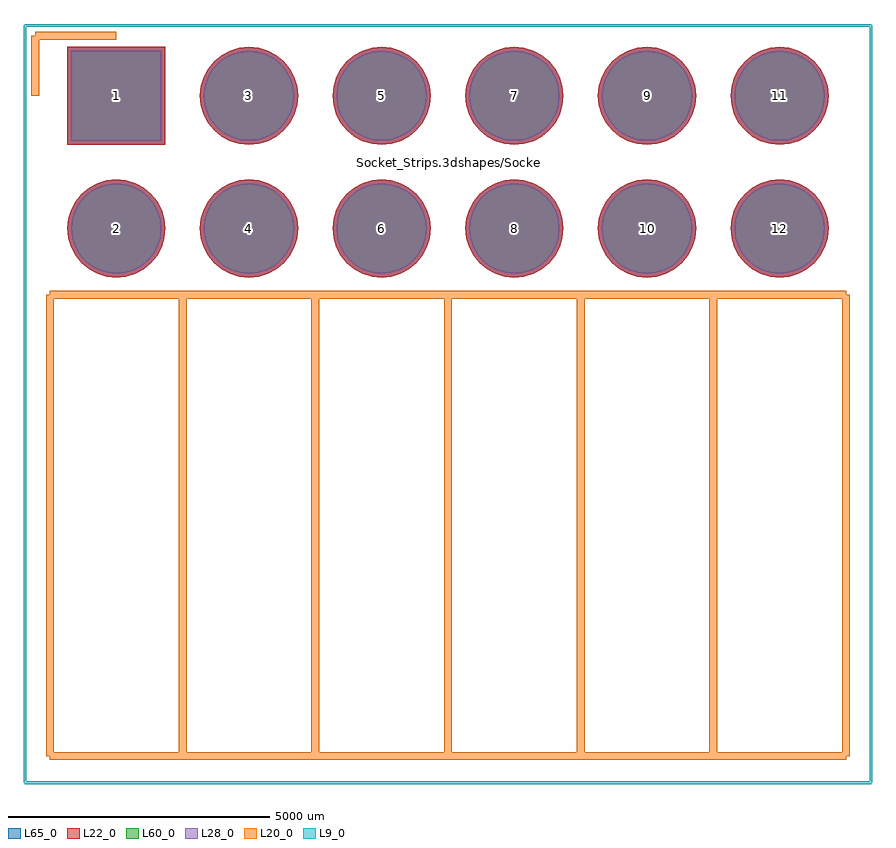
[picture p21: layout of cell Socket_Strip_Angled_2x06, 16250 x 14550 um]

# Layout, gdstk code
import gdstk
lib = gdstk.Library(unit=1e-6, precision=1e-09)
def R(c, l, rs):  # rectangles x0, y0, x1, y1
    for r in rs: c.add(gdstk.rectangle(r[:2], r[2:], *l))
def P(c, l, *ps):  # polygons
    for p in ps: c.add(gdstk.Polygon(p, *l))
L9_0 = (9, 0)
L20_0 = (20, 0)
L22_0 = (22, 0)
L28_0 = (28, 0)
L60_0 = (60, 0)
L65_0 = (65, 0)

socket_strip_angled_2x06 = lib.new_cell('Socket_Strip_Angled_2x06')
R(socket_strip_angled_2x06, L22_0, [(-938.6,-938.6,938.6,938.6)])
P(socket_strip_angled_2x06, L22_0, [(13638.6,-2540),(13620.565,-2356.888),(13567.153,-2180.813),(13480.417,-2018.542),(13363.69,-1876.31),(13221.458,-1759.583),(13059.187,-1672.847),(12883.112,-1619.435),(12700,-1601.4),(12516.888,-1619.435),(12340.813,-1672.847),(12178.542,-1759.583),(12036.31,-1876.31),(11919.583,-2018.542),(11832.847,-2180.813),(11779.435,-2356.888),(11761.4,-2540),(11779.435,-2723.112),(11832.847,-2899.187),(11919.583,-3061.458),(12036.31,-3203.69),(12178.542,-3320.417),(12340.813,-3407.153),(12516.888,-3460.565),(12700,-3478.6),(12883.112,-3460.565),(13059.187,-3407.153),(13221.458,-3320.417),(13363.69,-3203.69),(13480.417,-3061.458),(13567.153,-2899.187),(13620.565,-2723.112)],
  [(13638.6,0),(13620.565,183.112),(13567.153,359.187),(13480.417,521.458),(13363.69,663.69),(13221.458,780.417),(13059.187,867.153),(12883.112,920.565),(12700,938.6),(12516.888,920.565),(12340.813,867.153),(12178.542,780.417),(12036.31,663.69),(11919.583,521.458),(11832.847,359.187),(11779.435,183.112),(11761.4,0),(11779.435,-183.112),(11832.847,-359.187),(11919.583,-521.458),(12036.31,-663.69),(12178.542,-780.417),(12340.813,-867.153),(12516.888,-920.565),(12700,-938.6),(12883.112,-920.565),(13059.187,-867.153),(13221.458,-780.417),(13363.69,-663.69),(13480.417,-521.458),(13567.153,-359.187),(13620.565,-183.112)],
  [(11098.6,-2540),(11080.565,-2356.888),(11027.153,-2180.813),(10940.417,-2018.542),(10823.69,-1876.31),(10681.458,-1759.583),(10519.187,-1672.847),(10343.112,-1619.435),(10160,-1601.4),(9976.888,-1619.435),(9800.813,-1672.847),(9638.542,-1759.583),(9496.31,-1876.31),(9379.583,-2018.542),(9292.847,-2180.813),(9239.435,-2356.888),(9221.4,-2540),(9239.435,-2723.112),(9292.847,-2899.187),(9379.583,-3061.458),(9496.31,-3203.69),(9638.542,-3320.417),(9800.813,-3407.153),(9976.888,-3460.565),(10160,-3478.6),(10343.112,-3460.565),(10519.187,-3407.153),(10681.458,-3320.417),(10823.69,-3203.69),(10940.417,-3061.458),(11027.153,-2899.187),(11080.565,-2723.112)],
  [(11098.6,0),(11080.565,183.112),(11027.153,359.187),(10940.417,521.458),(10823.69,663.69),(10681.458,780.417),(10519.187,867.153),(10343.112,920.565),(10160,938.6),(9976.888,920.565),(9800.813,867.153),(9638.542,780.417),(9496.31,663.69),(9379.583,521.458),(9292.847,359.187),(9239.435,183.112),(9221.4,0),(9239.435,-183.112),(9292.847,-359.187),(9379.583,-521.458),(9496.31,-663.69),(9638.542,-780.417),(9800.813,-867.153),(9976.888,-920.565),(10160,-938.6),(10343.112,-920.565),(10519.187,-867.153),(10681.458,-780.417),(10823.69,-663.69),(10940.417,-521.458),(11027.153,-359.187),(11080.565,-183.112)],
  [(8558.6,-2540),(8540.565,-2356.888),(8487.153,-2180.813),(8400.417,-2018.542),(8283.69,-1876.31),(8141.458,-1759.583),(7979.187,-1672.847),(7803.112,-1619.435),(7620,-1601.4),(7436.888,-1619.435),(7260.813,-1672.847),(7098.542,-1759.583),(6956.31,-1876.31),(6839.583,-2018.542),(6752.847,-2180.813),(6699.435,-2356.888),(6681.4,-2540),(6699.435,-2723.112),(6752.847,-2899.187),(6839.583,-3061.458),(6956.31,-3203.69),(7098.542,-3320.417),(7260.813,-3407.153),(7436.888,-3460.565),(7620,-3478.6),(7803.112,-3460.565),(7979.187,-3407.153),(8141.458,-3320.417),(8283.69,-3203.69),(8400.417,-3061.458),(8487.153,-2899.187),(8540.565,-2723.112)],
  [(8558.6,0),(8540.565,183.112),(8487.153,359.187),(8400.417,521.458),(8283.69,663.69),(8141.458,780.417),(7979.187,867.153),(7803.112,920.565),(7620,938.6),(7436.888,920.565),(7260.813,867.153),(7098.542,780.417),(6956.31,663.69),(6839.583,521.458),(6752.847,359.187),(6699.435,183.112),(6681.4,0),(6699.435,-183.112),(6752.847,-359.187),(6839.583,-521.458),(6956.31,-663.69),(7098.542,-780.417),(7260.813,-867.153),(7436.888,-920.565),(7620,-938.6),(7803.112,-920.565),(7979.187,-867.153),(8141.458,-780.417),(8283.69,-663.69),(8400.417,-521.458),(8487.153,-359.187),(8540.565,-183.112)],
  [(6018.6,-2540),(6000.565,-2356.888),(5947.153,-2180.813),(5860.417,-2018.542),(5743.69,-1876.31),(5601.458,-1759.583),(5439.187,-1672.847),(5263.112,-1619.435),(5080,-1601.4),(4896.888,-1619.435),(4720.813,-1672.847),(4558.542,-1759.583),(4416.31,-1876.31),(4299.583,-2018.542),(4212.847,-2180.813),(4159.435,-2356.888),(4141.4,-2540),(4159.435,-2723.112),(4212.847,-2899.187),(4299.583,-3061.458),(4416.31,-3203.69),(4558.542,-3320.417),(4720.813,-3407.153),(4896.888,-3460.565),(5080,-3478.6),(5263.112,-3460.565),(5439.187,-3407.153),(5601.458,-3320.417),(5743.69,-3203.69),(5860.417,-3061.458),(5947.153,-2899.187),(6000.565,-2723.112)],
  [(6018.6,0),(6000.565,183.112),(5947.153,359.187),(5860.417,521.458),(5743.69,663.69),(5601.458,780.417),(5439.187,867.153),(5263.112,920.565),(5080,938.6),(4896.888,920.565),(4720.813,867.153),(4558.542,780.417),(4416.31,663.69),(4299.583,521.458),(4212.847,359.187),(4159.435,183.112),(4141.4,0),(4159.435,-183.112),(4212.847,-359.187),(4299.583,-521.458),(4416.31,-663.69),(4558.542,-780.417),(4720.813,-867.153),(4896.888,-920.565),(5080,-938.6),(5263.112,-920.565),(5439.187,-867.153),(5601.458,-780.417),(5743.69,-663.69),(5860.417,-521.458),(5947.153,-359.187),(6000.565,-183.112)],
  [(3478.6,-2540),(3460.565,-2356.888),(3407.153,-2180.813),(3320.417,-2018.542),(3203.69,-1876.31),(3061.458,-1759.583),(2899.187,-1672.847),(2723.112,-1619.435),(2540,-1601.4),(2356.888,-1619.435),(2180.813,-1672.847),(2018.542,-1759.583),(1876.31,-1876.31),(1759.583,-2018.542),(1672.847,-2180.813),(1619.435,-2356.888),(1601.4,-2540),(1619.435,-2723.112),(1672.847,-2899.187),(1759.583,-3061.458),(1876.31,-3203.69),(2018.542,-3320.417),(2180.813,-3407.153),(2356.888,-3460.565),(2540,-3478.6),(2723.112,-3460.565),(2899.187,-3407.153),(3061.458,-3320.417),(3203.69,-3203.69),(3320.417,-3061.458),(3407.153,-2899.187),(3460.565,-2723.112)],
  [(3478.6,0),(3460.565,183.112),(3407.153,359.187),(3320.417,521.458),(3203.69,663.69),(3061.458,780.417),(2899.187,867.153),(2723.112,920.565),(2540,938.6),(2356.888,920.565),(2180.813,867.153),(2018.542,780.417),(1876.31,663.69),(1759.583,521.458),(1672.847,359.187),(1619.435,183.112),(1601.4,0),(1619.435,-183.112),(1672.847,-359.187),(1759.583,-521.458),(1876.31,-663.69),(2018.542,-780.417),(2180.813,-867.153),(2356.888,-920.565),(2540,-938.6),(2723.112,-920.565),(2899.187,-867.153),(3061.458,-780.417),(3203.69,-663.69),(3320.417,-521.458),(3407.153,-359.187),(3460.565,-183.112)],
  [(938.6,-2540),(920.565,-2356.888),(867.153,-2180.813),(780.417,-2018.542),(663.69,-1876.31),(521.458,-1759.583),(359.187,-1672.847),(183.112,-1619.435),(0,-1601.4),(-183.112,-1619.435),(-359.187,-1672.847),(-521.458,-1759.583),(-663.69,-1876.31),(-780.417,-2018.542),(-867.153,-2180.813),(-920.565,-2356.888),(-938.6,-2540),(-920.565,-2723.112),(-867.153,-2899.187),(-780.417,-3061.458),(-663.69,-3203.69),(-521.458,-3320.417),(-359.187,-3407.153),(-183.112,-3460.565),(0,-3478.6),(183.112,-3460.565),(359.187,-3407.153),(521.458,-3320.417),(663.69,-3203.69),(780.417,-3061.458),(867.153,-2899.187),(920.565,-2723.112)])
R(socket_strip_angled_2x06, L28_0, [(-863.6,-863.6,863.6,863.6)])
P(socket_strip_angled_2x06, L28_0, [(13563.6,-2540),(13547.006,-2371.52),(13497.862,-2209.515),(13418.057,-2060.21),(13310.657,-1929.343),(13179.79,-1821.943),(13030.485,-1742.138),(12868.48,-1692.994),(12700,-1676.4),(12531.52,-1692.994),(12369.515,-1742.138),(12220.21,-1821.943),(12089.343,-1929.343),(11981.943,-2060.21),(11902.138,-2209.515),(11852.994,-2371.52),(11836.4,-2540),(11852.994,-2708.48),(11902.138,-2870.485),(11981.943,-3019.79),(12089.343,-3150.657),(12220.21,-3258.057),(12369.515,-3337.862),(12531.52,-3387.006),(12700,-3403.6),(12868.48,-3387.006),(13030.485,-3337.862),(13179.79,-3258.057),(13310.657,-3150.657),(13418.057,-3019.79),(13497.862,-2870.485),(13547.006,-2708.48)],
  [(13563.6,0),(13547.006,168.48),(13497.862,330.485),(13418.057,479.79),(13310.657,610.657),(13179.79,718.057),(13030.485,797.862),(12868.48,847.006),(12700,863.6),(12531.52,847.006),(12369.515,797.862),(12220.21,718.057),(12089.343,610.657),(11981.943,479.79),(11902.138,330.485),(11852.994,168.48),(11836.4,0),(11852.994,-168.48),(11902.138,-330.485),(11981.943,-479.79),(12089.343,-610.657),(12220.21,-718.057),(12369.515,-797.862),(12531.52,-847.006),(12700,-863.6),(12868.48,-847.006),(13030.485,-797.862),(13179.79,-718.057),(13310.657,-610.657),(13418.057,-479.79),(13497.862,-330.485),(13547.006,-168.48)],
  [(11023.6,-2540),(11007.006,-2371.52),(10957.862,-2209.515),(10878.057,-2060.21),(10770.657,-1929.343),(10639.79,-1821.943),(10490.485,-1742.138),(10328.48,-1692.994),(10160,-1676.4),(9991.52,-1692.994),(9829.515,-1742.138),(9680.21,-1821.943),(9549.343,-1929.343),(9441.943,-2060.21),(9362.138,-2209.515),(9312.994,-2371.52),(9296.4,-2540),(9312.994,-2708.48),(9362.138,-2870.485),(9441.943,-3019.79),(9549.343,-3150.657),(9680.21,-3258.057),(9829.515,-3337.862),(9991.52,-3387.006),(10160,-3403.6),(10328.48,-3387.006),(10490.485,-3337.862),(10639.79,-3258.057),(10770.657,-3150.657),(10878.057,-3019.79),(10957.862,-2870.485),(11007.006,-2708.48)],
  [(11023.6,0),(11007.006,168.48),(10957.862,330.485),(10878.057,479.79),(10770.657,610.657),(10639.79,718.057),(10490.485,797.862),(10328.48,847.006),(10160,863.6),(9991.52,847.006),(9829.515,797.862),(9680.21,718.057),(9549.343,610.657),(9441.943,479.79),(9362.138,330.485),(9312.994,168.48),(9296.4,0),(9312.994,-168.48),(9362.138,-330.485),(9441.943,-479.79),(9549.343,-610.657),(9680.21,-718.057),(9829.515,-797.862),(9991.52,-847.006),(10160,-863.6),(10328.48,-847.006),(10490.485,-797.862),(10639.79,-718.057),(10770.657,-610.657),(10878.057,-479.79),(10957.862,-330.485),(11007.006,-168.48)],
  [(8483.6,-2540),(8467.006,-2371.52),(8417.862,-2209.515),(8338.057,-2060.21),(8230.657,-1929.343),(8099.79,-1821.943),(7950.485,-1742.138),(7788.48,-1692.994),(7620,-1676.4),(7451.52,-1692.994),(7289.515,-1742.138),(7140.21,-1821.943),(7009.343,-1929.343),(6901.943,-2060.21),(6822.138,-2209.515),(6772.994,-2371.52),(6756.4,-2540),(6772.994,-2708.48),(6822.138,-2870.485),(6901.943,-3019.79),(7009.343,-3150.657),(7140.21,-3258.057),(7289.515,-3337.862),(7451.52,-3387.006),(7620,-3403.6),(7788.48,-3387.006),(7950.485,-3337.862),(8099.79,-3258.057),(8230.657,-3150.657),(8338.057,-3019.79),(8417.862,-2870.485),(8467.006,-2708.48)],
  [(8483.6,0),(8467.006,168.48),(8417.862,330.485),(8338.057,479.79),(8230.657,610.657),(8099.79,718.057),(7950.485,797.862),(7788.48,847.006),(7620,863.6),(7451.52,847.006),(7289.515,797.862),(7140.21,718.057),(7009.343,610.657),(6901.943,479.79),(6822.138,330.485),(6772.994,168.48),(6756.4,0),(6772.994,-168.48),(6822.138,-330.485),(6901.943,-479.79),(7009.343,-610.657),(7140.21,-718.057),(7289.515,-797.862),(7451.52,-847.006),(7620,-863.6),(7788.48,-847.006),(7950.485,-797.862),(8099.79,-718.057),(8230.657,-610.657),(8338.057,-479.79),(8417.862,-330.485),(8467.006,-168.48)],
  [(5943.6,-2540),(5927.006,-2371.52),(5877.862,-2209.515),(5798.057,-2060.21),(5690.657,-1929.343),(5559.79,-1821.943),(5410.485,-1742.138),(5248.48,-1692.994),(5080,-1676.4),(4911.52,-1692.994),(4749.515,-1742.138),(4600.21,-1821.943),(4469.343,-1929.343),(4361.943,-2060.21),(4282.138,-2209.515),(4232.994,-2371.52),(4216.4,-2540),(4232.994,-2708.48),(4282.138,-2870.485),(4361.943,-3019.79),(4469.343,-3150.657),(4600.21,-3258.057),(4749.515,-3337.862),(4911.52,-3387.006),(5080,-3403.6),(5248.48,-3387.006),(5410.485,-3337.862),(5559.79,-3258.057),(5690.657,-3150.657),(5798.057,-3019.79),(5877.862,-2870.485),(5927.006,-2708.48)],
  [(5943.6,0),(5927.006,168.48),(5877.862,330.485),(5798.057,479.79),(5690.657,610.657),(5559.79,718.057),(5410.485,797.862),(5248.48,847.006),(5080,863.6),(4911.52,847.006),(4749.515,797.862),(4600.21,718.057),(4469.343,610.657),(4361.943,479.79),(4282.138,330.485),(4232.994,168.48),(4216.4,0),(4232.994,-168.48),(4282.138,-330.485),(4361.943,-479.79),(4469.343,-610.657),(4600.21,-718.057),(4749.515,-797.862),(4911.52,-847.006),(5080,-863.6),(5248.48,-847.006),(5410.485,-797.862),(5559.79,-718.057),(5690.657,-610.657),(5798.057,-479.79),(5877.862,-330.485),(5927.006,-168.48)],
  [(3403.6,-2540),(3387.006,-2371.52),(3337.862,-2209.515),(3258.057,-2060.21),(3150.657,-1929.343),(3019.79,-1821.943),(2870.485,-1742.138),(2708.48,-1692.994),(2540,-1676.4),(2371.52,-1692.994),(2209.515,-1742.138),(2060.21,-1821.943),(1929.343,-1929.343),(1821.943,-2060.21),(1742.138,-2209.515),(1692.994,-2371.52),(1676.4,-2540),(1692.994,-2708.48),(1742.138,-2870.485),(1821.943,-3019.79),(1929.343,-3150.657),(2060.21,-3258.057),(2209.515,-3337.862),(2371.52,-3387.006),(2540,-3403.6),(2708.48,-3387.006),(2870.485,-3337.862),(3019.79,-3258.057),(3150.657,-3150.657),(3258.057,-3019.79),(3337.862,-2870.485),(3387.006,-2708.48)],
  [(3403.6,0),(3387.006,168.48),(3337.862,330.485),(3258.057,479.79),(3150.657,610.657),(3019.79,718.057),(2870.485,797.862),(2708.48,847.006),(2540,863.6),(2371.52,847.006),(2209.515,797.862),(2060.21,718.057),(1929.343,610.657),(1821.943,479.79),(1742.138,330.485),(1692.994,168.48),(1676.4,0),(1692.994,-168.48),(1742.138,-330.485),(1821.943,-479.79),(1929.343,-610.657),(2060.21,-718.057),(2209.515,-797.862),(2371.52,-847.006),(2540,-863.6),(2708.48,-847.006),(2870.485,-797.862),(3019.79,-718.057),(3150.657,-610.657),(3258.057,-479.79),(3337.862,-330.485),(3387.006,-168.48)],
  [(863.6,-2540),(847.006,-2371.52),(797.862,-2209.515),(718.057,-2060.21),(610.657,-1929.343),(479.79,-1821.943),(330.485,-1742.138),(168.48,-1692.994),(0,-1676.4),(-168.48,-1692.994),(-330.485,-1742.138),(-479.79,-1821.943),(-610.657,-1929.343),(-718.057,-2060.21),(-797.862,-2209.515),(-847.006,-2371.52),(-863.6,-2540),(-847.006,-2708.48),(-797.862,-2870.485),(-718.057,-3019.79),(-610.657,-3150.657),(-479.79,-3258.057),(-330.485,-3337.862),(-168.48,-3387.006),(0,-3403.6),(168.48,-3387.006),(330.485,-3337.862),(479.79,-3258.057),(610.657,-3150.657),(718.057,-3019.79),(797.862,-2870.485),(847.006,-2708.48)])
R(socket_strip_angled_2x06, L60_0, [(-863.6,-863.6,863.6,863.6)])
P(socket_strip_angled_2x06, L60_0, [(13563.6,-2540),(13547.006,-2371.52),(13497.862,-2209.515),(13418.057,-2060.21),(13310.657,-1929.343),(13179.79,-1821.943),(13030.485,-1742.138),(12868.48,-1692.994),(12700,-1676.4),(12531.52,-1692.994),(12369.515,-1742.138),(12220.21,-1821.943),(12089.343,-1929.343),(11981.943,-2060.21),(11902.138,-2209.515),(11852.994,-2371.52),(11836.4,-2540),(11852.994,-2708.48),(11902.138,-2870.485),(11981.943,-3019.79),(12089.343,-3150.657),(12220.21,-3258.057),(12369.515,-3337.862),(12531.52,-3387.006),(12700,-3403.6),(12868.48,-3387.006),(13030.485,-3337.862),(13179.79,-3258.057),(13310.657,-3150.657),(13418.057,-3019.79),(13497.862,-2870.485),(13547.006,-2708.48)],
  [(13563.6,0),(13547.006,168.48),(13497.862,330.485),(13418.057,479.79),(13310.657,610.657),(13179.79,718.057),(13030.485,797.862),(12868.48,847.006),(12700,863.6),(12531.52,847.006),(12369.515,797.862),(12220.21,718.057),(12089.343,610.657),(11981.943,479.79),(11902.138,330.485),(11852.994,168.48),(11836.4,0),(11852.994,-168.48),(11902.138,-330.485),(11981.943,-479.79),(12089.343,-610.657),(12220.21,-718.057),(12369.515,-797.862),(12531.52,-847.006),(12700,-863.6),(12868.48,-847.006),(13030.485,-797.862),(13179.79,-718.057),(13310.657,-610.657),(13418.057,-479.79),(13497.862,-330.485),(13547.006,-168.48)],
  [(11023.6,-2540),(11007.006,-2371.52),(10957.862,-2209.515),(10878.057,-2060.21),(10770.657,-1929.343),(10639.79,-1821.943),(10490.485,-1742.138),(10328.48,-1692.994),(10160,-1676.4),(9991.52,-1692.994),(9829.515,-1742.138),(9680.21,-1821.943),(9549.343,-1929.343),(9441.943,-2060.21),(9362.138,-2209.515),(9312.994,-2371.52),(9296.4,-2540),(9312.994,-2708.48),(9362.138,-2870.485),(9441.943,-3019.79),(9549.343,-3150.657),(9680.21,-3258.057),(9829.515,-3337.862),(9991.52,-3387.006),(10160,-3403.6),(10328.48,-3387.006),(10490.485,-3337.862),(10639.79,-3258.057),(10770.657,-3150.657),(10878.057,-3019.79),(10957.862,-2870.485),(11007.006,-2708.48)],
  [(11023.6,0),(11007.006,168.48),(10957.862,330.485),(10878.057,479.79),(10770.657,610.657),(10639.79,718.057),(10490.485,797.862),(10328.48,847.006),(10160,863.6),(9991.52,847.006),(9829.515,797.862),(9680.21,718.057),(9549.343,610.657),(9441.943,479.79),(9362.138,330.485),(9312.994,168.48),(9296.4,0),(9312.994,-168.48),(9362.138,-330.485),(9441.943,-479.79),(9549.343,-610.657),(9680.21,-718.057),(9829.515,-797.862),(9991.52,-847.006),(10160,-863.6),(10328.48,-847.006),(10490.485,-797.862),(10639.79,-718.057),(10770.657,-610.657),(10878.057,-479.79),(10957.862,-330.485),(11007.006,-168.48)],
  [(8483.6,-2540),(8467.006,-2371.52),(8417.862,-2209.515),(8338.057,-2060.21),(8230.657,-1929.343),(8099.79,-1821.943),(7950.485,-1742.138),(7788.48,-1692.994),(7620,-1676.4),(7451.52,-1692.994),(7289.515,-1742.138),(7140.21,-1821.943),(7009.343,-1929.343),(6901.943,-2060.21),(6822.138,-2209.515),(6772.994,-2371.52),(6756.4,-2540),(6772.994,-2708.48),(6822.138,-2870.485),(6901.943,-3019.79),(7009.343,-3150.657),(7140.21,-3258.057),(7289.515,-3337.862),(7451.52,-3387.006),(7620,-3403.6),(7788.48,-3387.006),(7950.485,-3337.862),(8099.79,-3258.057),(8230.657,-3150.657),(8338.057,-3019.79),(8417.862,-2870.485),(8467.006,-2708.48)],
  [(8483.6,0),(8467.006,168.48),(8417.862,330.485),(8338.057,479.79),(8230.657,610.657),(8099.79,718.057),(7950.485,797.862),(7788.48,847.006),(7620,863.6),(7451.52,847.006),(7289.515,797.862),(7140.21,718.057),(7009.343,610.657),(6901.943,479.79),(6822.138,330.485),(6772.994,168.48),(6756.4,0),(6772.994,-168.48),(6822.138,-330.485),(6901.943,-479.79),(7009.343,-610.657),(7140.21,-718.057),(7289.515,-797.862),(7451.52,-847.006),(7620,-863.6),(7788.48,-847.006),(7950.485,-797.862),(8099.79,-718.057),(8230.657,-610.657),(8338.057,-479.79),(8417.862,-330.485),(8467.006,-168.48)],
  [(5943.6,-2540),(5927.006,-2371.52),(5877.862,-2209.515),(5798.057,-2060.21),(5690.657,-1929.343),(5559.79,-1821.943),(5410.485,-1742.138),(5248.48,-1692.994),(5080,-1676.4),(4911.52,-1692.994),(4749.515,-1742.138),(4600.21,-1821.943),(4469.343,-1929.343),(4361.943,-2060.21),(4282.138,-2209.515),(4232.994,-2371.52),(4216.4,-2540),(4232.994,-2708.48),(4282.138,-2870.485),(4361.943,-3019.79),(4469.343,-3150.657),(4600.21,-3258.057),(4749.515,-3337.862),(4911.52,-3387.006),(5080,-3403.6),(5248.48,-3387.006),(5410.485,-3337.862),(5559.79,-3258.057),(5690.657,-3150.657),(5798.057,-3019.79),(5877.862,-2870.485),(5927.006,-2708.48)],
  [(5943.6,0),(5927.006,168.48),(5877.862,330.485),(5798.057,479.79),(5690.657,610.657),(5559.79,718.057),(5410.485,797.862),(5248.48,847.006),(5080,863.6),(4911.52,847.006),(4749.515,797.862),(4600.21,718.057),(4469.343,610.657),(4361.943,479.79),(4282.138,330.485),(4232.994,168.48),(4216.4,0),(4232.994,-168.48),(4282.138,-330.485),(4361.943,-479.79),(4469.343,-610.657),(4600.21,-718.057),(4749.515,-797.862),(4911.52,-847.006),(5080,-863.6),(5248.48,-847.006),(5410.485,-797.862),(5559.79,-718.057),(5690.657,-610.657),(5798.057,-479.79),(5877.862,-330.485),(5927.006,-168.48)],
  [(3403.6,-2540),(3387.006,-2371.52),(3337.862,-2209.515),(3258.057,-2060.21),(3150.657,-1929.343),(3019.79,-1821.943),(2870.485,-1742.138),(2708.48,-1692.994),(2540,-1676.4),(2371.52,-1692.994),(2209.515,-1742.138),(2060.21,-1821.943),(1929.343,-1929.343),(1821.943,-2060.21),(1742.138,-2209.515),(1692.994,-2371.52),(1676.4,-2540),(1692.994,-2708.48),(1742.138,-2870.485),(1821.943,-3019.79),(1929.343,-3150.657),(2060.21,-3258.057),(2209.515,-3337.862),(2371.52,-3387.006),(2540,-3403.6),(2708.48,-3387.006),(2870.485,-3337.862),(3019.79,-3258.057),(3150.657,-3150.657),(3258.057,-3019.79),(3337.862,-2870.485),(3387.006,-2708.48)],
  [(3403.6,0),(3387.006,168.48),(3337.862,330.485),(3258.057,479.79),(3150.657,610.657),(3019.79,718.057),(2870.485,797.862),(2708.48,847.006),(2540,863.6),(2371.52,847.006),(2209.515,797.862),(2060.21,718.057),(1929.343,610.657),(1821.943,479.79),(1742.138,330.485),(1692.994,168.48),(1676.4,0),(1692.994,-168.48),(1742.138,-330.485),(1821.943,-479.79),(1929.343,-610.657),(2060.21,-718.057),(2209.515,-797.862),(2371.52,-847.006),(2540,-863.6),(2708.48,-847.006),(2870.485,-797.862),(3019.79,-718.057),(3150.657,-610.657),(3258.057,-479.79),(3337.862,-330.485),(3387.006,-168.48)],
  [(863.6,-2540),(847.006,-2371.52),(797.862,-2209.515),(718.057,-2060.21),(610.657,-1929.343),(479.79,-1821.943),(330.485,-1742.138),(168.48,-1692.994),(0,-1676.4),(-168.48,-1692.994),(-330.485,-1742.138),(-479.79,-1821.943),(-610.657,-1929.343),(-718.057,-2060.21),(-797.862,-2209.515),(-847.006,-2371.52),(-863.6,-2540),(-847.006,-2708.48),(-797.862,-2870.485),(-718.057,-3019.79),(-610.657,-3150.657),(-479.79,-3258.057),(-330.485,-3337.862),(-168.48,-3387.006),(0,-3403.6),(168.48,-3387.006),(330.485,-3337.862),(479.79,-3258.057),(610.657,-3150.657),(718.057,-3019.79),(797.862,-2870.485),(847.006,-2708.48)])
R(socket_strip_angled_2x06, L65_0, [(-938.6,-938.6,938.6,938.6)])
P(socket_strip_angled_2x06, L65_0, [(13638.6,-2540),(13620.565,-2356.888),(13567.153,-2180.813),(13480.417,-2018.542),(13363.69,-1876.31),(13221.458,-1759.583),(13059.187,-1672.847),(12883.112,-1619.435),(12700,-1601.4),(12516.888,-1619.435),(12340.813,-1672.847),(12178.542,-1759.583),(12036.31,-1876.31),(11919.583,-2018.542),(11832.847,-2180.813),(11779.435,-2356.888),(11761.4,-2540),(11779.435,-2723.112),(11832.847,-2899.187),(11919.583,-3061.458),(12036.31,-3203.69),(12178.542,-3320.417),(12340.813,-3407.153),(12516.888,-3460.565),(12700,-3478.6),(12883.112,-3460.565),(13059.187,-3407.153),(13221.458,-3320.417),(13363.69,-3203.69),(13480.417,-3061.458),(13567.153,-2899.187),(13620.565,-2723.112)],
  [(13638.6,0),(13620.565,183.112),(13567.153,359.187),(13480.417,521.458),(13363.69,663.69),(13221.458,780.417),(13059.187,867.153),(12883.112,920.565),(12700,938.6),(12516.888,920.565),(12340.813,867.153),(12178.542,780.417),(12036.31,663.69),(11919.583,521.458),(11832.847,359.187),(11779.435,183.112),(11761.4,0),(11779.435,-183.112),(11832.847,-359.187),(11919.583,-521.458),(12036.31,-663.69),(12178.542,-780.417),(12340.813,-867.153),(12516.888,-920.565),(12700,-938.6),(12883.112,-920.565),(13059.187,-867.153),(13221.458,-780.417),(13363.69,-663.69),(13480.417,-521.458),(13567.153,-359.187),(13620.565,-183.112)],
  [(11098.6,-2540),(11080.565,-2356.888),(11027.153,-2180.813),(10940.417,-2018.542),(10823.69,-1876.31),(10681.458,-1759.583),(10519.187,-1672.847),(10343.112,-1619.435),(10160,-1601.4),(9976.888,-1619.435),(9800.813,-1672.847),(9638.542,-1759.583),(9496.31,-1876.31),(9379.583,-2018.542),(9292.847,-2180.813),(9239.435,-2356.888),(9221.4,-2540),(9239.435,-2723.112),(9292.847,-2899.187),(9379.583,-3061.458),(9496.31,-3203.69),(9638.542,-3320.417),(9800.813,-3407.153),(9976.888,-3460.565),(10160,-3478.6),(10343.112,-3460.565),(10519.187,-3407.153),(10681.458,-3320.417),(10823.69,-3203.69),(10940.417,-3061.458),(11027.153,-2899.187),(11080.565,-2723.112)],
  [(11098.6,0),(11080.565,183.112),(11027.153,359.187),(10940.417,521.458),(10823.69,663.69),(10681.458,780.417),(10519.187,867.153),(10343.112,920.565),(10160,938.6),(9976.888,920.565),(9800.813,867.153),(9638.542,780.417),(9496.31,663.69),(9379.583,521.458),(9292.847,359.187),(9239.435,183.112),(9221.4,0),(9239.435,-183.112),(9292.847,-359.187),(9379.583,-521.458),(9496.31,-663.69),(9638.542,-780.417),(9800.813,-867.153),(9976.888,-920.565),(10160,-938.6),(10343.112,-920.565),(10519.187,-867.153),(10681.458,-780.417),(10823.69,-663.69),(10940.417,-521.458),(11027.153,-359.187),(11080.565,-183.112)],
  [(8558.6,-2540),(8540.565,-2356.888),(8487.153,-2180.813),(8400.417,-2018.542),(8283.69,-1876.31),(8141.458,-1759.583),(7979.187,-1672.847),(7803.112,-1619.435),(7620,-1601.4),(7436.888,-1619.435),(7260.813,-1672.847),(7098.542,-1759.583),(6956.31,-1876.31),(6839.583,-2018.542),(6752.847,-2180.813),(6699.435,-2356.888),(6681.4,-2540),(6699.435,-2723.112),(6752.847,-2899.187),(6839.583,-3061.458),(6956.31,-3203.69),(7098.542,-3320.417),(7260.813,-3407.153),(7436.888,-3460.565),(7620,-3478.6),(7803.112,-3460.565),(7979.187,-3407.153),(8141.458,-3320.417),(8283.69,-3203.69),(8400.417,-3061.458),(8487.153,-2899.187),(8540.565,-2723.112)],
  [(8558.6,0),(8540.565,183.112),(8487.153,359.187),(8400.417,521.458),(8283.69,663.69),(8141.458,780.417),(7979.187,867.153),(7803.112,920.565),(7620,938.6),(7436.888,920.565),(7260.813,867.153),(7098.542,780.417),(6956.31,663.69),(6839.583,521.458),(6752.847,359.187),(6699.435,183.112),(6681.4,0),(6699.435,-183.112),(6752.847,-359.187),(6839.583,-521.458),(6956.31,-663.69),(7098.542,-780.417),(7260.813,-867.153),(7436.888,-920.565),(7620,-938.6),(7803.112,-920.565),(7979.187,-867.153),(8141.458,-780.417),(8283.69,-663.69),(8400.417,-521.458),(8487.153,-359.187),(8540.565,-183.112)],
  [(6018.6,-2540),(6000.565,-2356.888),(5947.153,-2180.813),(5860.417,-2018.542),(5743.69,-1876.31),(5601.458,-1759.583),(5439.187,-1672.847),(5263.112,-1619.435),(5080,-1601.4),(4896.888,-1619.435),(4720.813,-1672.847),(4558.542,-1759.583),(4416.31,-1876.31),(4299.583,-2018.542),(4212.847,-2180.813),(4159.435,-2356.888),(4141.4,-2540),(4159.435,-2723.112),(4212.847,-2899.187),(4299.583,-3061.458),(4416.31,-3203.69),(4558.542,-3320.417),(4720.813,-3407.153),(4896.888,-3460.565),(5080,-3478.6),(5263.112,-3460.565),(5439.187,-3407.153),(5601.458,-3320.417),(5743.69,-3203.69),(5860.417,-3061.458),(5947.153,-2899.187),(6000.565,-2723.112)],
  [(6018.6,0),(6000.565,183.112),(5947.153,359.187),(5860.417,521.458),(5743.69,663.69),(5601.458,780.417),(5439.187,867.153),(5263.112,920.565),(5080,938.6),(4896.888,920.565),(4720.813,867.153),(4558.542,780.417),(4416.31,663.69),(4299.583,521.458),(4212.847,359.187),(4159.435,183.112),(4141.4,0),(4159.435,-183.112),(4212.847,-359.187),(4299.583,-521.458),(4416.31,-663.69),(4558.542,-780.417),(4720.813,-867.153),(4896.888,-920.565),(5080,-938.6),(5263.112,-920.565),(5439.187,-867.153),(5601.458,-780.417),(5743.69,-663.69),(5860.417,-521.458),(5947.153,-359.187),(6000.565,-183.112)],
  [(3478.6,-2540),(3460.565,-2356.888),(3407.153,-2180.813),(3320.417,-2018.542),(3203.69,-1876.31),(3061.458,-1759.583),(2899.187,-1672.847),(2723.112,-1619.435),(2540,-1601.4),(2356.888,-1619.435),(2180.813,-1672.847),(2018.542,-1759.583),(1876.31,-1876.31),(1759.583,-2018.542),(1672.847,-2180.813),(1619.435,-2356.888),(1601.4,-2540),(1619.435,-2723.112),(1672.847,-2899.187),(1759.583,-3061.458),(1876.31,-3203.69),(2018.542,-3320.417),(2180.813,-3407.153),(2356.888,-3460.565),(2540,-3478.6),(2723.112,-3460.565),(2899.187,-3407.153),(3061.458,-3320.417),(3203.69,-3203.69),(3320.417,-3061.458),(3407.153,-2899.187),(3460.565,-2723.112)],
  [(3478.6,0),(3460.565,183.112),(3407.153,359.187),(3320.417,521.458),(3203.69,663.69),(3061.458,780.417),(2899.187,867.153),(2723.112,920.565),(2540,938.6),(2356.888,920.565),(2180.813,867.153),(2018.542,780.417),(1876.31,663.69),(1759.583,521.458),(1672.847,359.187),(1619.435,183.112),(1601.4,0),(1619.435,-183.112),(1672.847,-359.187),(1759.583,-521.458),(1876.31,-663.69),(2018.542,-780.417),(2180.813,-867.153),(2356.888,-920.565),(2540,-938.6),(2723.112,-920.565),(2899.187,-867.153),(3061.458,-780.417),(3203.69,-663.69),(3320.417,-521.458),(3407.153,-359.187),(3460.565,-183.112)],
  [(938.6,-2540),(920.565,-2356.888),(867.153,-2180.813),(780.417,-2018.542),(663.69,-1876.31),(521.458,-1759.583),(359.187,-1672.847),(183.112,-1619.435),(0,-1601.4),(-183.112,-1619.435),(-359.187,-1672.847),(-521.458,-1759.583),(-663.69,-1876.31),(-780.417,-2018.542),(-867.153,-2180.813),(-920.565,-2356.888),(-938.6,-2540),(-920.565,-2723.112),(-867.153,-2899.187),(-780.417,-3061.458),(-663.69,-3203.69),(-521.458,-3320.417),(-359.187,-3407.153),(-183.112,-3460.565),(0,-3478.6),(183.112,-3460.565),(359.187,-3407.153),(521.458,-3320.417),(663.69,-3203.69),(780.417,-3061.458),(867.153,-2899.187),(920.565,-2723.112)])
socket_strip_angled_2x06.add(gdstk.FlexPath([(1270,-12640),(1270,-3810)], 149.998, ends="flush", simple_path=True, layer=20, datatype=0))  # L20_0
socket_strip_angled_2x06.add(gdstk.FlexPath([(-1270,-12640),(1270,-12640)], 149.998, ends="flush", simple_path=True, layer=20, datatype=0))  # L20_0
socket_strip_angled_2x06.add(gdstk.FlexPath([(-1270,-3810),(-1270,-12640)], 149.998, ends="flush", simple_path=True, layer=20, datatype=0))  # L20_0
socket_strip_angled_2x06.add(gdstk.FlexPath([(-1550,1150),(-1550,0)], 149.998, ends="flush", simple_path=True, layer=20, datatype=0))  # L20_0
socket_strip_angled_2x06.add(gdstk.FlexPath([(0,1150),(-1550,1150)], 149.998, ends="flush", simple_path=True, layer=20, datatype=0))  # L20_0
socket_strip_angled_2x06.add(gdstk.FlexPath([(-1270,-3810),(1270,-3810)], 149.998, ends="flush", simple_path=True, layer=20, datatype=0))  # L20_0
socket_strip_angled_2x06.add(gdstk.FlexPath([(1270,-3810),(1270,-12640)], 149.998, ends="flush", simple_path=True, layer=20, datatype=0))  # L20_0
socket_strip_angled_2x06.add(gdstk.FlexPath([(3810,-3810),(3810,-12640)], 149.998, ends="flush", simple_path=True, layer=20, datatype=0))  # L20_0
socket_strip_angled_2x06.add(gdstk.FlexPath([(1270,-3810),(3810,-3810)], 149.998, ends="flush", simple_path=True, layer=20, datatype=0))  # L20_0
socket_strip_angled_2x06.add(gdstk.FlexPath([(1270,-12640),(3810,-12640)], 149.998, ends="flush", simple_path=True, layer=20, datatype=0))  # L20_0
socket_strip_angled_2x06.add(gdstk.FlexPath([(3810,-12640),(3810,-3810)], 149.998, ends="flush", simple_path=True, layer=20, datatype=0))  # L20_0
socket_strip_angled_2x06.add(gdstk.FlexPath([(6350,-12640),(6350,-3810)], 149.998, ends="flush", simple_path=True, layer=20, datatype=0))  # L20_0
socket_strip_angled_2x06.add(gdstk.FlexPath([(3810,-12640),(6350,-12640)], 149.998, ends="flush", simple_path=True, layer=20, datatype=0))  # L20_0
socket_strip_angled_2x06.add(gdstk.FlexPath([(3810,-3810),(6350,-3810)], 149.998, ends="flush", simple_path=True, layer=20, datatype=0))  # L20_0
socket_strip_angled_2x06.add(gdstk.FlexPath([(6350,-3810),(6350,-12640)], 149.998, ends="flush", simple_path=True, layer=20, datatype=0))  # L20_0
socket_strip_angled_2x06.add(gdstk.FlexPath([(8890,-3810),(8890,-12640)], 149.998, ends="flush", simple_path=True, layer=20, datatype=0))  # L20_0
socket_strip_angled_2x06.add(gdstk.FlexPath([(6350,-3810),(8890,-3810)], 149.998, ends="flush", simple_path=True, layer=20, datatype=0))  # L20_0
socket_strip_angled_2x06.add(gdstk.FlexPath([(6350,-12640),(8890,-12640)], 149.998, ends="flush", simple_path=True, layer=20, datatype=0))  # L20_0
socket_strip_angled_2x06.add(gdstk.FlexPath([(8890,-12640),(8890,-3810)], 149.998, ends="flush", simple_path=True, layer=20, datatype=0))  # L20_0
socket_strip_angled_2x06.add(gdstk.FlexPath([(11430,-12640),(11430,-3810)], 149.998, ends="flush", simple_path=True, layer=20, datatype=0))  # L20_0
socket_strip_angled_2x06.add(gdstk.FlexPath([(8890,-12640),(11430,-12640)], 149.998, ends="flush", simple_path=True, layer=20, datatype=0))  # L20_0
socket_strip_angled_2x06.add(gdstk.FlexPath([(8890,-3810),(11430,-3810)], 149.998, ends="flush", simple_path=True, layer=20, datatype=0))  # L20_0
socket_strip_angled_2x06.add(gdstk.FlexPath([(11430,-3810),(11430,-12640)], 149.998, ends="flush", simple_path=True, layer=20, datatype=0))  # L20_0
socket_strip_angled_2x06.add(gdstk.FlexPath([(13970,-3810),(13970,-12640)], 149.998, ends="flush", simple_path=True, layer=20, datatype=0))  # L20_0
socket_strip_angled_2x06.add(gdstk.FlexPath([(11430,-3810),(13970,-3810)], 149.998, ends="flush", simple_path=True, layer=20, datatype=0))  # L20_0
socket_strip_angled_2x06.add(gdstk.FlexPath([(11430,-12640),(13970,-12640)], 149.998, ends="flush", simple_path=True, layer=20, datatype=0))  # L20_0
socket_strip_angled_2x06.add(gdstk.FlexPath([(13970,-12640),(13970,-3810)], 149.998, ends="flush", simple_path=True, layer=20, datatype=0))  # L20_0
socket_strip_angled_2x06.add(gdstk.FlexPath([(-1750,-13150),(14450,-13150)], 50, ends="flush", simple_path=True, layer=9, datatype=0))  # L9_0
socket_strip_angled_2x06.add(gdstk.FlexPath([(-1750,1350),(14450,1350)], 50, ends="flush", simple_path=True, layer=9, datatype=0))  # L9_0
socket_strip_angled_2x06.add(gdstk.FlexPath([(14450,1350),(14450,-13150)], 50, ends="flush", simple_path=True, layer=9, datatype=0))  # L9_0
socket_strip_angled_2x06.add(gdstk.FlexPath([(-1750,1350),(-1750,-13150)], 50, ends="flush", simple_path=True, layer=9, datatype=0))  # L9_0
socket_strip_angled_2x06.add(gdstk.Label('Socket_Strips.3dshapes/Socket_Strip_Angled_2x06.wrl', (6350,-1270), layer=12, texttype=0))
socket_strip_angled_2x06.add(gdstk.Label('12', (12700,-2540), layer=28, texttype=0))
socket_strip_angled_2x06.add(gdstk.Label('11', (12700,0), layer=28, texttype=0))
socket_strip_angled_2x06.add(gdstk.Label('10', (10160,-2540), layer=28, texttype=0))
socket_strip_angled_2x06.add(gdstk.Label('9', (10160,0), layer=28, texttype=0))
socket_strip_angled_2x06.add(gdstk.Label('8', (7620,-2540), layer=28, texttype=0))
socket_strip_angled_2x06.add(gdstk.Label('7', (7620,0), layer=28, texttype=0))
socket_strip_angled_2x06.add(gdstk.Label('6', (5080,-2540), layer=28, texttype=0))
socket_strip_angled_2x06.add(gdstk.Label('5', (5080,0), layer=28, texttype=0))
socket_strip_angled_2x06.add(gdstk.Label('4', (2540,-2540), layer=28, texttype=0))
socket_strip_angled_2x06.add(gdstk.Label('3', (2540,0), layer=28, texttype=0))
socket_strip_angled_2x06.add(gdstk.Label('2', (0,-2540), layer=28, texttype=0))
socket_strip_angled_2x06.add(gdstk.Label('1', (0,0), layer=28, texttype=0))
socket_strip_angled_2x06.add(gdstk.Label('type', (0,2600), layer=9, texttype=0))
socket_strip_angled_2x06.add(gdstk.Label('devicename', (0,4600), layer=9, texttype=0))

lib.write_gds('Socket_Strip_Angled_2x06.gds')
